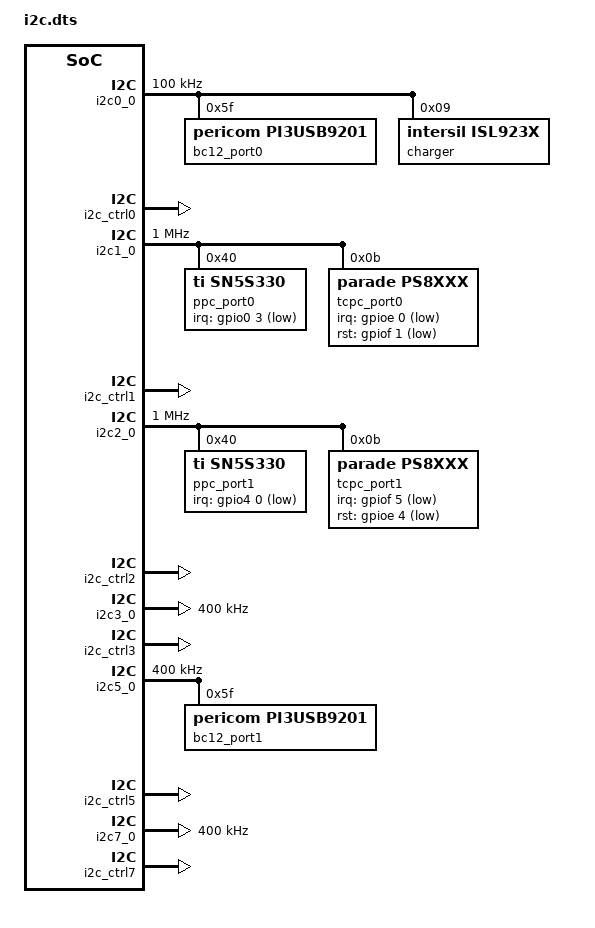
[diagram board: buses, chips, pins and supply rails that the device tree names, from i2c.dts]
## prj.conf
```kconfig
# Copyright 2021 The ChromiumOS Authors
# Use of this source code is governed by a BSD-style license that can be
# found in the LICENSE file.

CONFIG_CROS_EC=y
#
# Lazor actually has a NPCX7M6FC, but
# the NPCX7M7FC is actually the same die, without the
# extra RAM being tested. The code size really could
# do with the extra space, so we pretend the EC is the
# part with the larger RAM. YMMV.
#
CONFIG_PLATFORM_EC=y
CONFIG_PLATFORM_EC_BRINGUP=y
CONFIG_PLATFORM_EC_EXTPOWER_GPIO=y
CONFIG_PLATFORM_EC_SWITCH=y
CONFIG_PLATFORM_EC_LID_SWITCH=y
CONFIG_PLATFORM_EC_BACKLIGHT_LID=y
CONFIG_PLATFORM_EC_POWER_BUTTON=y

# PWM
CONFIG_PWM=y

# Application Processor is Qualcomm SC7180
CONFIG_AP_ARM_QUALCOMM_SC7180=y

# Board version is selected over GPIO board ID pins.
CONFIG_PLATFORM_EC_BOARD_VERSION_GPIO=y

# LN9310 Switchcap
CONFIG_PLATFORM_EC_SWITCHCAP_LN9310=y

# Power Sequencing
CONFIG_PLATFORM_EC_POWERSEQ=y
CONFIG_PLATFORM_EC_POWERSEQ_HOST_SLEEP=y
CONFIG_PLATFORM_EC_POWER_SLEEP_FAILURE_DETECTION=y
CONFIG_PLATFORM_EC_CHIPSET_RESET_HOOK=y
CONFIG_PLATFORM_EC_CHIPSET_RESUME_INIT_HOOK=y

# Trogdor family does not use EFS2
CONFIG_PLATFORM_EC_VBOOT_EFS2=n

# MKBP event
CONFIG_PLATFORM_EC_MKBP_EVENT=y
CONFIG_PLATFORM_EC_MKBP_USE_GPIO=y

# Keyboard
CONFIG_PLATFORM_EC_KEYBOARD_PROTOCOL_MKBP=y
CONFIG_PLATFORM_EC_MKBP_INPUT_DEVICES=y
CONFIG_PLATFORM_EC_KEYBOARD_COL2_INVERTED=y
CONFIG_PLATFORM_EC_VOLUME_BUTTONS=y
CONFIG_PLATFORM_EC_CMD_BUTTON=y

# Battery
CONFIG_PLATFORM_EC_I2C_VIRTUAL_BATTERY=y
CONFIG_PLATFORM_EC_I2C_PASSTHRU_RESTRICTED=y
CONFIG_PLATFORM_EC_BATTERY_FUEL_GAUGE=y
CONFIG_PLATFORM_EC_BATTERY_CUT_OFF=y
CONFIG_PLATFORM_EC_CHARGER_ISL9238=y
CONFIG_PLATFORM_EC_CHARGE_RAMP_HW=y
CONFIG_PLATFORM_EC_USE_BATTERY_DEVICE_CHEMISTRY=y
CONFIG_PLATFORM_EC_BATTERY_DEVICE_CHEMISTRY="LION"
CONFIG_PLATFORM_EC_BATTERY_REVIVE_DISCONNECT=y
CONFIG_PLATFORM_EC_CHARGER_DISCHARGE_ON_AC=y
CONFIG_PLATFORM_EC_CHARGER_DISCHARGE_ON_AC_CHARGER=y
CONFIG_PLATFORM_EC_CHARGER_MIN_BAT_PCT_FOR_POWER_ON=2
CONFIG_PLATFORM_EC_CHARGER_MIN_POWER_MW_FOR_POWER_ON=10000
CONFIG_PLATFORM_EC_CHARGER_MIN_INPUT_CURRENT_LIMIT=512
CONFIG_PLATFORM_EC_CHARGER_PROFILE_OVERRIDE=y
CONFIG_PLATFORM_EC_CHARGER_PSYS=y
CONFIG_PLATFORM_EC_CHARGER_PSYS_READ=y
CONFIG_PLATFORM_EC_CHARGER_SENSE_RESISTOR=10
CONFIG_PLATFORM_EC_CHARGER_SENSE_RESISTOR_AC=20
CONFIG_PLATFORM_EC_CONSOLE_CMD_CHARGER_ADC_AMON_BMON=y

# USB-C
CONFIG_PLATFORM_EC_USB_PD_USB32_DRD=n
CONFIG_PLATFORM_EC_USBC_SS_MUX_DFP_ONLY=y
CONFIG_PLATFORM_EC_USB_DRP_ACC_TRYSRC=y
CONFIG_PLATFORM_EC_USB_PD_5V_EN_CUSTOM=y
CONFIG_PLATFORM_EC_USB_PD_VBUS_DETECT_TCPC=y
CONFIG_PLATFORM_EC_USB_PD_DISCHARGE_PPC=y
CONFIG_PLATFORM_EC_USB_PD_REV30=n
CONFIG_PLATFORM_EC_USB_PD_TBT_COMPAT_MODE=n
CONFIG_PLATFORM_EC_USB_PD_USB4=n
CONFIG_PLATFORM_EC_USB_PD_TCPC_LOW_POWER=y
CONFIG_PLATFORM_EC_USB_PD_TCPM_MULTI_PS8XXX=y
CONFIG_PLATFORM_EC_USB_PD_TCPM_PS8751=y
CONFIG_PLATFORM_EC_USB_PD_TCPM_PS8805=y
CONFIG_PLATFORM_EC_USB_PD_TCPC_RUNTIME_CONFIG=n
CONFIG_PLATFORM_EC_USB_MUX_RUNTIME_CONFIG=n
CONFIG_PLATFORM_EC_USB_PD_LOGGING=y

# USB ID
# This is allocated specifically for Trogdor
# http://google3/hardware/standards/usb/
# TODO(b/183608112): Move to device tree
CONFIG_PLATFORM_EC_USB_PID=0x5043

# RTC
CONFIG_PLATFORM_EC_RTC=y
CONFIG_PLATFORM_EC_HOSTCMD_RTC=y
CONFIG_PLATFORM_EC_CONSOLE_CMD_RTC=y

# EC software sync
CONFIG_PLATFORM_EC_VBOOT_HASH=y

# Sensors
CONFIG_PLATFORM_EC_ACCEL_FIFO=y
CONFIG_PLATFORM_EC_CONSOLE_CMD_ACCELS=y
CONFIG_PLATFORM_EC_CONSOLE_CMD_ACCEL_INFO=y
CONFIG_PLATFORM_EC_GMR_TABLET_MODE=y
CONFIG_PLATFORM_EC_LID_ANGLE=y
CONFIG_PLATFORM_EC_LID_ANGLE_UPDATE=y
CONFIG_PLATFORM_EC_SENSOR_TIGHT_TIMESTAMPS=y
CONFIG_PLATFORM_EC_TABLET_MODE=y
CONFIG_PLATFORM_EC_TABLET_MODE_SWITCH=y

# Sensor Drivers
CONFIG_PLATFORM_EC_ACCEL_BMA255=y
CONFIG_PLATFORM_EC_ACCELGYRO_BMI160=y
CONFIG_PLATFORM_EC_ACCELGYRO_BMI_COMM_I2C=y

# Console history
CONFIG_SHELL_HISTORY=y
CONFIG_SHELL_CMDS=y
CONFIG_SHELL_HELP=n
CONFIG_SHELL_MINIMAL=y

# Taskinfo
CONFIG_THREAD_MONITOR=y
CONFIG_KERNEL_SHELL=y

CONFIG_SYSCON=y

# Features should be enabled. But the code RAM is not enough, disable them.
#CONFIG_PLATFORM_EC_ACCEL_SPOOF_MODE=y
#CONFIG_PLATFORM_EC_EMULATED_SYSRQ=y
```

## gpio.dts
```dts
/* Copyright 2021 The ChromiumOS Authors
 * Use of this source code is governed by a BSD-style license that can be
 * found in the LICENSE file.
 */

#include <dt-bindings/wake_mask_event_defines.h>

/ {
	aliases {
		gpio-wp = &gpio_ec_wp_odl;
		gpio-kbd-kso2 = &gpio_ec_kso_02_inv;
	};

	named-gpios {
		compatible = "named-gpios";

		gpio_usb_c0_pd_int_odl: usb_c0_pd_int_odl {
			gpios = <&gpioe 0 (GPIO_INPUT | GPIO_ACTIVE_LOW)>;
			enum-name = "GPIO_USB_C0_PD_INT_ODL";
		};
		gpio_usb_c1_pd_int_odl: usb_c1_pd_int_odl {
			gpios = <&gpiof 5 (GPIO_INPUT | GPIO_ACTIVE_LOW)>;
			enum-name = "GPIO_USB_C1_PD_INT_ODL";
		};
		gpio_usb_c0_swctl_int_odl: usb_c0_swctl_int_odl {
			gpios = <&gpio0 3 (GPIO_INPUT | GPIO_ACTIVE_LOW)>;
			enum-name = "GPIO_USB_C0_SWCTL_INT_ODL";
		};
		gpio_usb_c1_swctl_int_odl: usb_c1_swctl_int_odl {
			gpios = <&gpio4 0 (GPIO_INPUT | GPIO_ACTIVE_LOW)>;
			enum-name = "GPIO_USB_C1_SWCTL_INT_ODL";
		};
		gpio_usb_c0_bc12_int_l: usb_c0_bc12_int_l {
			gpios = <&gpio6 1 GPIO_INPUT_PULL_UP>;
		};
		gpio_usb_c1_bc12_int_l: usb_c1_bc12_int_l {
			gpios = <&gpio8 2 GPIO_INPUT_PULL_UP>;
		};
		gpio_usb_a0_oc_odl: usb_a0_oc_odl {
			gpios = <&gpiod 1 GPIO_INPUT_PULL_UP>;
		};
		gpio_acok_od: acok_od {
			gpios = <&gpio0 0 GPIO_INPUT>;
			enum-name = "GPIO_AC_PRESENT";
		};
		gpio_ccd_mode_odl: ccd_mode_odl {
			gpios = <&gpioe 3 GPIO_INPUT>;
			enum-name = "GPIO_CCD_MODE_ODL";
		};
		gpio_ec_pwr_btn_odl: ec_pwr_btn_odl {
			gpios = <&gpio0 1 GPIO_INPUT>;
			enum-name = "GPIO_POWER_BUTTON_L";
		};
		gpio_ec_voldn_btn_odl: ec_voldn_btn_odl {
			gpios = <&gpio7 0 GPIO_INPUT_PULL_UP>;
			enum-name = "GPIO_VOLUME_DOWN_L";
		};
		gpio_ec_volup_btn_odl: ec_volup_btn_odl {
			gpios = <&gpiof 2 GPIO_INPUT_PULL_UP>;
			enum-name = "GPIO_VOLUME_UP_L";
		};
		gpio_ec_wp_odl: ec_wp_odl {
			gpios = <&gpioa 1 (GPIO_INPUT | GPIO_ACTIVE_LOW)>;
		};
		gpio_lid_open_ec: lid_open_ec {
			gpios = <&gpiod 2 GPIO_INPUT>;
			enum-name = "GPIO_LID_OPEN";
		};
		gpio_ap_rst_l: ap_rst_l {
			gpios = <&gpioc 1 (GPIO_INPUT | GPIO_VOLTAGE_1P8)>;
			enum-name = "GPIO_AP_RST_L";
		};
		gpio_ps_hold: ps_hold {
			gpios = <&gpioa 4 GPIO_INPUT_PULL_DOWN>;
			enum-name = "GPIO_PS_HOLD";
		};
		gpio_ap_suspend: ap_suspend {
			gpios = <&gpio5 7 GPIO_INPUT>;
			enum-name = "GPIO_AP_SUSPEND";
		};
		gpio_deprecated_ap_rst_req: deprecated_ap_rst_req {
			gpios = <&gpioc 2 (GPIO_INPUT_PULL_DOWN | GPIO_VOLTAGE_1P8)>;
			enum-name = "GPIO_DEPRECATED_AP_RST_REQ";
		};
		gpio_power_good: power_good {
			gpios = <&gpio5 4 GPIO_INPUT_PULL_DOWN>;
			enum-name = "GPIO_POWER_GOOD";
		};
		gpio_warm_reset_l: warm_reset_l {
			gpios = <&gpiof 4 (GPIO_INPUT | GPIO_VOLTAGE_1P8)>;
			enum-name = "GPIO_WARM_RESET_L";
		};
		ap_ec_spi_cs_l {
			gpios = <&gpio5 3 GPIO_INPUT_PULL_DOWN>;
		};
		gpio_tablet_mode_l: tablet_mode_l {
			gpios = <&gpioc 6 GPIO_INPUT>;
			enum-name = "GPIO_TABLET_MODE_L";
		};
		gpio_accel_gyro_int_l: accel_gyro_int_l {
			gpios = <&gpioa 0 GPIO_INPUT>;
		};
		/*
		 * Note, this signal is active low when used as the ln9310
		 * interrupt input, and active high when used as the da9313
		 * power good input.  The board code clears the active low
		 * flag when da9313 is detected.
		 */
		gpio_switchcap_pg_int_l: gpio_da9313_gpio0: da9313_gpio0 {
			gpios = <&gpioe 2 (GPIO_INPUT | GPIO_ACTIVE_LOW)>;
			enum-name = "GPIO_DA9313_GPIO0";
		};
		gpio_ec_rst_odl: ec_rst_odl {
			gpios = <&gpio0 2 GPIO_INPUT>;
		};
		ec_entering_rw {
			gpios = <&gpioe 1 GPIO_OUTPUT_LOW>;
			enum-name = "GPIO_ENTERING_RW";
		};
		ec_batt_pres_odl {
			gpios = <&gpioe 5 GPIO_INPUT>;
			enum-name = "GPIO_BATT_PRES_ODL";
		};
		pm845_resin_l {
			gpios = <&gpio3 2 GPIO_ODR_HIGH>;
			enum-name = "GPIO_PMIC_RESIN_L";
		};
		pmic_kpd_pwr_odl {
			gpios = <&gpiod 6 GPIO_ODR_HIGH>;
			enum-name = "GPIO_PMIC_KPD_PWR_ODL";
		};
		ec_int_l {
			gpios = <&gpioa 2 GPIO_ODR_HIGH>;
			enum-name = "GPIO_EC_INT_L";
		};
		qsip_on {
			gpios = <&gpio5 0 GPIO_OUTPUT_LOW>;
		};
		gpio_hibernate_l: hibernate_l {
			gpios = <&gpio5 2 GPIO_OUTPUT_HIGH>;
		};
		gpio_switchcap_on: switchcap_on {
			gpios = <&gpiod 5 GPIO_OUTPUT_LOW>;
			enum-name = "GPIO_SWITCHCAP_ON";
		};
		gpio_vbob_en: vbob_en {
			gpios = <&gpiod 3 GPIO_OUTPUT_LOW>;
			enum-name = "GPIO_VBOB_EN";
		};
		gpio_en_pp3300_a: en_pp3300_a {
			gpios = <&gpioa 6 GPIO_OUTPUT_LOW>;
			enum-name = "GPIO_EN_PP3300_A";
		};
		gpio_en_pp5000_a: en_pp5000_a {
			gpios = <&gpio6 7 GPIO_OUTPUT_LOW>;
			enum-name = "GPIO_EN_PP5000";
		};
		ec_bl_disable_l {
			gpios = <&gpiob 6 GPIO_OUTPUT_LOW>;
			enum-name = "GPIO_ENABLE_BACKLIGHT";
		};
		gpio_lid_accel_int_l: lid_accel_int_l {
			gpios = <&gpio5 6 GPIO_INPUT>;
		};
		trackpad_int_gate {
			gpios = <&gpio7 4 GPIO_OUTPUT_LOW>;
		};
		gpio_usb_c0_pd_rst_l: usb_c0_pd_rst_l {
			gpios = <&gpiof 1 (GPIO_ODR_HIGH | GPIO_ACTIVE_LOW)>;
		};
		gpio_usb_c1_pd_rst_l: usb_c1_pd_rst_l {
			gpios = <&gpioe 4 (GPIO_ODR_HIGH | GPIO_ACTIVE_LOW)>;
		};
		gpio_dp_mux_oe_l: dp_mux_oe_l {
			gpios = <&gpio9 6 GPIO_ODR_HIGH>;
		};
		gpio_dp_mux_sel: dp_mux_sel {
			gpios = <&gpio4 5 GPIO_OUTPUT_LOW>;
		};
		gpio_dp_hot_plug_det: dp_hot_plug_det {
			gpios = <&gpio9 5 GPIO_OUTPUT_LOW>;
		};
		gpio_en_usb_a_5v: en_usb_a_5v {
			gpios = <&gpio8 6 GPIO_OUTPUT_LOW>;
			enum-name = "GPIO_EN_USB_A_5V";
		};
		usb_a_cdp_ilim_en {
			gpios = <&gpio7 5 GPIO_OUTPUT_HIGH>;
		};
		gpio_ec_chg_led_y_c1: ec_chg_led_y_c1 {
			gpios = <&gpioc 3 GPIO_OUTPUT_LOW>;
		};
		gpio_ec_chg_led_b_c1: ec_chg_led_b_c1 {
			gpios = <&gpioc 4 GPIO_OUTPUT_LOW>;
		};
		gpio_brd_id0: brd_id0 {
			gpios = <&gpioc 7 GPIO_INPUT>;
			enum-name = "GPIO_BOARD_VERSION1";
		};
		gpio_brd_id1: brd_id1 {
			gpios = <&gpio9 3 GPIO_INPUT>;
			enum-name = "GPIO_BOARD_VERSION2";
		};
		gpio_brd_id2: brd_id2 {
			gpios = <&gpio6 3 GPIO_INPUT>;
			enum-name = "GPIO_BOARD_VERSION3";
		};
		gpio_sku_id0: sku_id0 {
			gpios = <&gpiof 0 GPIO_INPUT>;
		};
		gpio_sku_id1: sku_id1 {
			gpios = <&gpio4 1 GPIO_INPUT>;
		};
		gpio_sku_id2: sku_id2 {
			gpios = <&gpiod 4 GPIO_INPUT>;
		};
		arm_x86 {
			gpios = <&gpio6 6 GPIO_OUTPUT_LOW>;
		};
		ec-i2c-sensor-scl {
			gpios = <&gpiob 3 (GPIO_INPUT | GPIO_VOLTAGE_1P8)>;
		};
		ec-i2c-sensor-sda {
			gpios = <&gpiob 2 (GPIO_INPUT | GPIO_VOLTAGE_1P8)>;
		};
		gpio_ec_kso_02_inv: ec_kso_02_inv {
			gpios = <&gpio1 7 (GPIO_OUTPUT | GPIO_ACTIVE_HIGH)>;
		};
	};

	usba-port-enable-list {
		compatible = "cros-ec,usba-port-enable-pins";
		enable-pins = <&gpio_en_usb_a_5v>;
	};

	hibernate-wake-pins {
		compatible = "cros-ec,hibernate-wake-pins";
		wakeup-irqs = <
			&int_ac_present
			&int_power_button
			&int_lid_open
			&int_ec_rst
		>;
	};

	ec-mkbp-host-event-wakeup-mask {
		compatible = "cros-ec,mkbp-host-event-wakeup-mask";
		wakeup-mask = <(
			HOST_EVENT_LID_OPEN |
			HOST_EVENT_POWER_BUTTON |
			HOST_EVENT_AC_CONNECTED |
			HOST_EVENT_AC_DISCONNECTED |
			HOST_EVENT_HANG_DETECT |
			HOST_EVENT_RTC |
			HOST_EVENT_MODE_CHANGE |
			HOST_EVENT_DEVICE)>;
	};

	ec-mkbp-event-wakeup-mask {
		compatible = "cros-ec,mkbp-event-wakeup-mask";
		wakeup-mask = <(MKBP_EVENT_KEY_MATRIX |
				MKBP_EVENT_HOST_EVENT |
				MKBP_EVENT_SENSOR_FIFO)>;
	};

	gpio_id_sku: sku {
		compatible = "cros-ec,gpio-id";
		bits  = <
			&gpio_sku_id0
			&gpio_sku_id1
			&gpio_sku_id2
		>;
		system = "binary";
	};

	gpio_id_board: board {
		compatible = "cros-ec,gpio-id";
		bits  = <
			&gpio_brd_id0
			&gpio_brd_id1
			&gpio_brd_id2
		>;
		system = "binary_first_base3";
	};

	unused-pins {
		compatible = "unused-gpios";
		unused-gpios =
			<&gpio5 1 0>,
			<&gpiod 0 0>,
			<&gpiof 3 0>,
			<&gpio0 4 0>,
			<&gpioc 0 0>,
			<&gpioa 7 0>,
			<&gpio8 3 0>,
			<&gpio8 1 0>,
			<&gpio3 7 0>,
			<&gpio7 6 0>,
			<&gpio3 4 0>,
			<&gpioc 5 0>,
			<&gpioa 3 0>,
			<&gpio7 3 0>,
			<&gpiod 7 0>,
			<&gpioa 5 0>,
			<&gpiob 0 0>,
			<&gpio9 4 0>,
			<&gpiob 1 0>,
			<&gpio6 2 0>,
			<&gpio3 5 0>,
			<&gpio9 7 0>,
			<&gpio6 0 0>,
			<&gpio7 2 0>;
	};
};
```

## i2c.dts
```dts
/* Copyright 2022 The ChromiumOS Authors
 * Use of this source code is governed by a BSD-style license that can be
 * found in the LICENSE file.
 */

/ {
	named-i2c-ports {
		compatible = "named-i2c-ports";

		i2c_power: power {
			i2c-port = <&i2c0_0>;
			remote-port = <0>;
			enum-names = "I2C_PORT_POWER",
				"I2C_PORT_BATTERY",
				"I2C_PORT_VIRTUAL_BATTERY",
				"I2C_PORT_CHARGER";
		};
		i2c_tcpc0: tcpc0 {
			i2c-port = <&i2c1_0>;
			enum-names = "I2C_PORT_TCPC0";
		};
		i2c_tcpc1: tcpc1 {
			i2c-port = <&i2c2_0>;
			enum-names = "I2C_PORT_TCPC1";
		};
		i2c_eeprom: eeprom {
			i2c-port = <&i2c5_0>;
			enum-names = "I2C_PORT_EEPROM";
		};
		i2c_sensor: sensor {
			i2c-port = <&i2c7_0>;
			enum-names = "I2C_PORT_SENSOR",
				"I2C_PORT_ACCEL";
		};
	};

};

&i2c0_0 {
	status = "okay";
	clock-frequency = <I2C_BITRATE_STANDARD>;
	pinctrl-0 = <&i2c0_0_sda_scl_gpb4_b5>;
	pinctrl-names = "default";

	bc12_port0: pi3usb9201@5f {
		compatible = "pericom,pi3usb9201";
		status = "okay";
		reg = <0x5f>;
		irq = <&int_usb_c0_bc12>;
	};

	charger: isl923x@9 {
		compatible = "intersil,isl923x";
		status = "okay";
		reg = <0x9>;
	};
};

&i2c_ctrl0 {
	status = "okay";
};

&i2c1_0 {
	status = "okay";
	clock-frequency = <I2C_BITRATE_FAST_PLUS>;
	pinctrl-0 = <&i2c1_0_sda_scl_gp87_90>;
	pinctrl-names = "default";

	ppc_port0: sn5s330@40 {
		compatible = "ti,sn5s330";
		status = "okay";
		reg = <0x40>;
		/* a duplicate of the <&gpio_usb_c0_swctl_int_odl> node in
		 * "named-gpios". This is the Zephyr preferred style,
		 * the "named-gpios" node will be dealt with at a later date.
		 */
		irq-gpios = <&gpio0 3 GPIO_ACTIVE_LOW>;
	};

	tcpc_port0: ps8xxx@b {
		compatible = "parade,ps8xxx";
		status = "okay";
		reg = <0xb>;
		/* a duplicate of the <&gpio_usb_c0_pd_int_odl> node in
		 * "named-gpios". This is the Zephyr preferred style,
		 * the "named-gpios" node will be dealt with at a later date.
		 */
		irq-gpios = <&gpioe 0 GPIO_ACTIVE_LOW>;
		/* a duplicate of the <&gpio_usb_c0_pd_rst_l> node in
		 * "named-gpios". This is the Zephyr preferred style,
		 * the "named-gpios" node will be dealt with at a later date.
		 */
		rst-gpios = <&gpiof 1 (GPIO_OPEN_DRAIN | GPIO_ACTIVE_LOW)>;
	};
};

&i2c_ctrl1 {
	status = "okay";
};

&i2c2_0 {
	status = "okay";
	clock-frequency = <I2C_BITRATE_FAST_PLUS>;
	pinctrl-0 = <&i2c2_0_sda_scl_gp91_92>;
	pinctrl-names = "default";

	ppc_port1: sn5s330@40{
		compatible = "ti,sn5s330";
		status = "okay";
		reg = <0x40>;
		/* a duplicate of the <&gpio_usb_c1_swctl_int_odl> node in
		 * "named-gpios". This is the Zephyr preferred style,
		 * the "named-gpios" node will be dealt with at a later date.
		 */
		irq-gpios = <&gpio4 0 GPIO_ACTIVE_LOW>;
	};

	tcpc_port1: ps8xxx@b {
		compatible = "parade,ps8xxx";
		status = "okay";
		reg = <0xb>;
		/* a duplicate of the <&gpio_usb_c1_pd_int_odl> node in
		 * "named-gpios". This is the Zephyr preferred style,
		 * the "named-gpios" node will be dealt with at a later date.
		 */
		irq-gpios = <&gpiof 5 GPIO_ACTIVE_LOW>;
		/* a duplicate of the <&gpio_usb_c1_pd_rst_l> node in
		 * "named-gpios". This is the Zephyr preferred style,
		 * the "named-gpios" node will be dealt with at a later date.
		 */
		rst-gpios = <&gpioe 4 (GPIO_OPEN_DRAIN | GPIO_ACTIVE_LOW)>;
	};
};

&i2c_ctrl2 {
	status = "okay";
};

&i2c3_0 {
	/* Not used as no WLC connected */
	clock-frequency = <I2C_BITRATE_FAST>;
};

&i2c_ctrl3 {
	status = "okay";
};

&i2c5_0 {
	status = "okay";
	clock-frequency = <I2C_BITRATE_FAST>;
	pinctrl-0 = <&i2c5_0_sda_scl_gp33_36>;
	pinctrl-names = "default";

	bc12_port1: pi3usb9201@5f {
		compatible = "pericom,pi3usb9201";
		status = "okay";
		reg = <0x5f>;
		irq = <&int_usb_c1_bc12>;
	};
};

&i2c_ctrl5 {
	status = "okay";
};

&i2c7_0 {
	status = "okay";
	clock-frequency = <I2C_BITRATE_FAST>;
	pinctrl-0 = <&i2c7_0_sda_scl_gpb2_b3>;
	pinctrl-names = "default";
};

&i2c_ctrl7 {
	status = "okay";
};
```

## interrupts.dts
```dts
/* Copyright 2022 The ChromiumOS Authors
 * Use of this source code is governed by a BSD-style license that can be
 * found in the LICENSE file.
 */

/ {
	gpio-interrupts {
		compatible = "cros-ec,gpio-interrupts";

		int_ac_present: ac_present {
			irq-pin = <&gpio_acok_od>;
			flags = <GPIO_INT_EDGE_BOTH>;
			handler = "extpower_interrupt";
		};
		int_lid_open: lid_open {
			irq-pin = <&gpio_lid_open_ec>;
			flags = <GPIO_INT_EDGE_BOTH>;
			handler = "lid_interrupt";
		};
		int_power_button: power_button {
			irq-pin = <&gpio_ec_pwr_btn_odl>;
			flags = <GPIO_INT_EDGE_BOTH>;
			handler = "power_button_interrupt";
		};
		int_volume_up: volume_up {
			irq-pin = <&gpio_ec_volup_btn_odl>;
			flags = <GPIO_INT_EDGE_BOTH>;
			handler = "button_interrupt";
		};
		int_volume_down: volume_down {
			irq-pin = <&gpio_ec_voldn_btn_odl>;
			flags = <GPIO_INT_EDGE_BOTH>;
			handler = "button_interrupt";
		};
		/*
		 * Note this is an active low input, so
		 * the direction is from logical low to
		 * logical high.
		 */
		int_switchcap_pg: switchcap_pg {
			irq-pin = <&gpio_switchcap_pg_int_l>;
			flags = <GPIO_INT_EDGE_RISING>;
			handler = "ln9310_interrupt";
		};
		int_ap_rst: ap_rst {
			irq-pin = <&gpio_ap_rst_l>;
			flags = <GPIO_INT_EDGE_BOTH>;
			handler = "chipset_ap_rst_interrupt";
		};
		int_ap_suspend: ap_suspend {
			irq-pin = <&gpio_ap_suspend>;
			flags = <GPIO_INT_EDGE_BOTH>;
			handler = "power_signal_interrupt";
		};
		int_deprecated_ap_rst_req: deprecated_ap_rst_req {
			irq-pin = <&gpio_deprecated_ap_rst_req>;
			flags = <GPIO_INT_EDGE_BOTH>;
			handler = "power_signal_interrupt";
		};
		int_power_good: power_good {
			irq-pin = <&gpio_power_good>;
			flags = <GPIO_INT_EDGE_BOTH>;
			handler = "chipset_power_good_interrupt";
		};
		int_ps_hold: ps_hold {
			irq-pin = <&gpio_ps_hold>;
			flags = <GPIO_INT_EDGE_BOTH>;
			handler = "power_signal_interrupt";
		};
		int_warm_reset: warm_reset {
			irq-pin = <&gpio_warm_reset_l>;
			flags = <GPIO_INT_EDGE_BOTH>;
			handler = "chipset_warm_reset_interrupt";
		};
		int_usb_c0_bc12: usb_c0_bc12 {
			irq-pin = <&gpio_usb_c0_bc12_int_l>;
			flags = <GPIO_INT_EDGE_FALLING>;
			handler = "usb0_evt";
		};
		int_usb_c1_bc12: usb_c1_bc12 {
			irq-pin = <&gpio_usb_c1_bc12_int_l>;
			flags = <GPIO_INT_EDGE_FALLING>;
			handler = "usb1_evt";
		};
		int_usb_a0_oc: usb_a0_oc {
			irq-pin = <&gpio_usb_a0_oc_odl>;
			flags = <GPIO_INT_EDGE_BOTH>;
			handler = "usba_oc_interrupt";
		};
		int_ccd_mode: ccd_mode {
			irq-pin = <&gpio_ccd_mode_odl>;
			flags = <GPIO_INT_EDGE_FALLING>;
			handler = "board_connect_c0_sbu";
		};
		int_accel: accel {
			irq-pin = <&gpio_accel_gyro_int_l>;
			flags = <GPIO_INT_EDGE_FALLING>;
			handler = "bmi160_interrupt";
		};
		int_tablet_mode: tablet_mode {
			irq-pin = <&gpio_tablet_mode_l>;
			flags = <GPIO_INT_EDGE_BOTH>;
			handler = "gmr_tablet_switch_isr";
		};
		int_ec_rst: ec_rst {
			irq-pin = <&gpio_ec_rst_odl>;
			flags = <GPIO_INT_EDGE_FALLING>;
			handler = "wake_isr";
		};
	};
};
```

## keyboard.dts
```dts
/* Copyright 2021 The ChromiumOS Authors
 * Use of this source code is governed by a BSD-style license that can be
 * found in the LICENSE file.
 */

/ {
	cros-keyscan {
		compatible = "cros-ec,keyscan";

		actual-key-mask = <
			0x14	/* C0 */
			0xff	/* C1 */
			0xff	/* C2 */
			0xff	/* C3 */
			0xff	/* C4 */
			0xf5	/* C5 */
			0xff	/* C6 */
			0xa4	/* C7 */
			0xff	/* C8 */
			0xfe	/* C9 */
			0x55	/* C10 */
			0xfa	/* C11 */
			0xca	/* C12 */
			>;
	};

	kblight {
		compatible = "cros-ec,kblight-pwm";
		pwms = <&pwm3 0 PWM_KHZ(10) PWM_POLARITY_NORMAL>;
		generic-pwm-channel = <0>;
	};
};

&pwm3 {
	status = "okay";
	pinctrl-0 = <&pwm3_gp80>;
	pinctrl-names = "default";
};

&cros_kb_raw {
	status = "okay";
	/* No KSO2 (it's inverted and implemented by GPIO) */
	pinctrl-0 = <&ksi0_gp31
		     &ksi1_gp30
		     &ksi2_gp27
		     &ksi3_gp26
		     &ksi4_gp25
		     &ksi5_gp24
		     &ksi6_gp23
		     &ksi7_gp22
		     &kso00_gp21
		     &kso01_gp20
		     &kso03_gp16
		     &kso04_gp15
		     &kso05_gp14
		     &kso06_gp13
		     &kso07_gp12
		     &kso08_gp11
		     &kso09_gp10
		     &kso10_gp07
		     &kso11_gp06
		     &kso12_gp05
		     >;
	pinctrl-names = "default";
};
```

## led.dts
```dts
/ {
	led-colors {
		compatible = "cros-ec,led-policy";

		power-state-charge {
			charge-state = "LED_PWRS_CHARGE";

			battery-led {
				led-id = "EC_LED_ID_BATTERY_LED";
				color-0 {
					led-color = "LED_AMBER";
				};
			};
		};

		power-state-discharge-s0 {
			charge-state = "LED_PWRS_DISCHARGE";
			chipset-state = "POWER_S0";

			battery-led {
				led-id = "EC_LED_ID_BATTERY_LED";
				color-0 {
					led-color = "LED_BLUE";
				};
			};
		};

		power-state-discharge-s3 {
			charge-state = "LED_PWRS_DISCHARGE";
			chipset-state = "POWER_S3";

			/* Amber 1 sec, off 3 sec */
			battery-led {
				led-id = "EC_LED_ID_BATTERY_LED";
				color-0 {
					led-color = "LED_AMBER";
					period-ms = <1000>;
				};
				color-1 {
					led-color = "LED_OFF";
					period-ms = <3000>;
				};
			};
		};

		power-state-discharge-s5 {
			charge-state = "LED_PWRS_DISCHARGE";
			chipset-state = "POWER_S5";

			battery-led {
				led-id = "EC_LED_ID_BATTERY_LED";
				color-0 {
					led-color = "LED_OFF";
				};
			};
		};

		power-state-error {
			charge-state = "LED_PWRS_ERROR";

			/* Amber 1 sec, off 1 sec */
			battery-led {
				led-id = "EC_LED_ID_BATTERY_LED";
				color-0 {
					led-color = "LED_AMBER";
					period-ms = <1000>;
				};
				color-1 {
					led-color = "LED_OFF";
					period-ms = <1000>;
				};
			};
		};

		power-state-near-full {
			charge-state = "LED_PWRS_CHARGE_NEAR_FULL";

			battery-led {
				led-id = "EC_LED_ID_BATTERY_LED";
				color-0 {
					led-color = "LED_BLUE";
				};
			};
		};

		power-state-forced-idle {
			charge-state = "LED_PWRS_FORCED_IDLE";

			/* Blue 2 sec, Amber 2 sec */
			battery-led {
					led-id = "EC_LED_ID_BATTERY_LED";
				color-0 {
					led-color = "LED_BLUE";
					period-ms = <2000>;
				};
				color-1 {
					led-color = "LED_AMBER";
					period-ms = <2000>;
				};
			};
		};

		power-state-idle {
			charge-state = "LED_PWRS_IDLE";

			battery-led {
				led-id = "EC_LED_ID_BATTERY_LED";
				color-0 {
					led-color = "LED_BLUE";
				};
			};
		};
	};
};
```

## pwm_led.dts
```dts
/* Copyright 2022 The ChromiumOS Authors
 * Use of this source code is governed by a BSD-style license that can be
 * found in the LICENSE file.
 */

/ {
	pwmleds {
		compatible = "pwm-leds";
		pwm_y: pwm_y {
			pwms = <&pwm0 0 PWM_HZ(324) PWM_POLARITY_NORMAL>;
		};
		pwm_b: pwm_b {
			pwms = <&pwm2 0 PWM_HZ(324) PWM_POLARITY_NORMAL>;
		};
	};

	pwm-led-pins {
		compatible = "cros-ec,pwm-led-pins";

		battery_led: battery-led {
			led-id = "EC_LED_ID_BATTERY_LED";
			led-pwms = <&pwm_y &pwm_b>;

			color-off {
				led-color = "LED_OFF";
				led-values = <0 0>;
			};

			color-amber {
				led-color = "LED_AMBER";
				led-values = <100 0>;
			};

			color-blue {
				led-color = "LED_BLUE";
				led-values = <0 100>;
			};
		};
	};
};

&pwm0 {
	status = "okay";
	pinctrl-0 = <&pwm0_gpc3>;
	pinctrl-names = "default";
};

&pwm2 {
	status = "okay";
	pinctrl-0 = <&pwm2_gpc4>;
	pinctrl-names = "default";
};
```

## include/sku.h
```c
/* Copyright 2022 The ChromiumOS Authors
 * Use of this source code is governed by a BSD-style license that can be
 * found in the LICENSE file.
 */

/* Lazor board-specific SKU configuration */

#ifndef __ZEPHYR_LAZOR_SKU_H
#define __ZEPHYR_LAZOR_SKU_H

int board_get_version(void);
int board_is_clamshell(void);
int board_has_da9313(void);
int board_has_ln9310(void);
int board_has_buck_ic(void);

#endif /* __ZEPHYR_LAZOR_SKU_H */
```

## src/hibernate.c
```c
/* Copyright 2022 The ChromiumOS Authors
 * Use of this source code is governed by a BSD-style license that can be
 * found in the LICENSE file.
 */

#include "common.h"
#include "sku.h"
#include "system.h"
#include "usbc_ppc.h"

void board_hibernate(void)
{
	int i;

	if (!board_is_clamshell()) {
		/*
		 * Sensors are unpowered in hibernate. Apply PD to the
		 * interrupt lines such that they don't float.
		 */
		gpio_pin_configure_dt(
			GPIO_DT_FROM_NODELABEL(gpio_accel_gyro_int_l),
			GPIO_DISCONNECTED);
		gpio_pin_configure_dt(
			GPIO_DT_FROM_NODELABEL(gpio_lid_accel_int_l),
			GPIO_DISCONNECTED);
	}

	/*
	 * Board rev 5+ has the hardware fix. Don't need the following
	 * workaround.
	 */
	if (system_get_board_version() >= 5)
		return;

	/*
	 * Enable the PPC power sink path before EC enters hibernate;
	 * otherwise, ACOK won't go High and can't wake EC up. Check the
	 * bug b/170324206 for details.
	 */
	for (i = 0; i < CONFIG_USB_PD_PORT_MAX_COUNT; i++)
		ppc_vbus_sink_enable(i, 1);
}

void board_hibernate_late(void)
{
	/* Set the hibernate GPIO to turn off the rails */
	gpio_pin_set_dt(GPIO_DT_FROM_NODELABEL(gpio_hibernate_l), 0);
}
```

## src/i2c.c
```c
/* Copyright 2021 The ChromiumOS Authors
 * Use of this source code is governed by a BSD-style license that can be
 * found in the LICENSE file.
 */

#include "i2c.h"
#include "i2c/i2c.h"

/* Lazor board specific i2c implementation */

#ifdef CONFIG_PLATFORM_EC_I2C_PASSTHRU_RESTRICTED
int board_allow_i2c_passthru(const struct i2c_cmd_desc_t *cmd_desc)
{
	return (i2c_get_device_for_port(cmd_desc->port) ==
		i2c_get_device_for_port(I2C_PORT_VIRTUAL_BATTERY));
}
#endif
```

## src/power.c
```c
/* Copyright 2022 The ChromiumOS Authors
 * Use of this source code is governed by a BSD-style license that can be
 * found in the LICENSE file.
 */

#include "gpio.h"
#include "power.h"
#include "task.h"

#include <zephyr/drivers/gpio.h>
#include <zephyr/init.h>

#include <ap_power/ap_power.h>

static void board_power_change(struct ap_power_ev_callback *cb,
			       struct ap_power_ev_data data)
{
	switch (data.event) {
	default:
		return;

	case AP_POWER_PRE_INIT:
		/* Turn on the 3.3V rail */
		gpio_pin_set_dt(GPIO_DT_FROM_NODELABEL(gpio_en_pp3300_a), 1);

		/* Turn on the 5V rail. */
#ifdef CONFIG_POWER_PP5000_CONTROL
		power_5v_enable(task_get_current(), 1);
#else /* !defined(CONFIG_POWER_PP5000_CONTROL) */
		gpio_pin_set_dt(GPIO_DT_FROM_NODELABEL(gpio_en_pp5000_a), 1);
#endif /* defined(CONFIG_POWER_PP5000_CONTROL) */
		break;

	case AP_POWER_SHUTDOWN_COMPLETE:
		/* Turn off the 5V rail. */
#ifdef CONFIG_POWER_PP5000_CONTROL
		power_5v_enable(task_get_current(), 0);
#else /* !defined(CONFIG_POWER_PP5000_CONTROL) */
		gpio_pin_set_dt(GPIO_DT_FROM_NODELABEL(gpio_en_pp5000_a), 0);
#endif /* defined(CONFIG_POWER_PP5000_CONTROL) */

		/* Turn off the 3.3V and 5V rails. */
		gpio_pin_set_dt(GPIO_DT_FROM_NODELABEL(gpio_en_pp3300_a), 0);
		break;
	}
}

static int board_power_handler_init(void)
{
	static struct ap_power_ev_callback cb;

	/* Setup a suspend/resume callback */
	ap_power_ev_init_callback(&cb, board_power_change,
				  AP_POWER_PRE_INIT |
					  AP_POWER_SHUTDOWN_COMPLETE);
	ap_power_ev_add_callback(&cb);
	return 0;
}
SYS_INIT(board_power_handler_init, APPLICATION, 1);
```

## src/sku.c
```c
/* Copyright 2022 The ChromiumOS Authors
 * Use of this source code is governed by a BSD-style license that can be
 * found in the LICENSE file.
 */

#include "common.h"
#include "config.h"
#include "console.h"
#include "driver/ln9310.h"
#include "hooks.h"
#include "sku.h"
#include "system.h"
#include "tcpm/ps8xxx_public.h"
#include "util.h"

#define CPRINTS(format, args...) cprints(CC_USBCHARGE, format, ##args)
#define CPRINTF(format, args...) cprintf(CC_USBCHARGE, format, ##args)

static uint8_t sku_id;

enum board_model {
	LAZOR,
	LIMOZEEN,
	UNKNOWN,
};

static const char *const model_name[] = {
	"LAZOR",
	"LIMOZEEN",
	"UNKNOWN",
};

static enum board_model get_model(void)
{
	if (sku_id == 0 || sku_id == 1 || sku_id == 2 || sku_id == 3)
		return LAZOR;
	if (sku_id == 4 || sku_id == 5 || sku_id == 6)
		return LIMOZEEN;
	return UNKNOWN;
}

/* Read SKU ID from GPIO and initialize variables for board variants */
static void sku_init(void)
{
	sku_id = system_get_sku_id();
	CPRINTS("SKU: %u (%s)", sku_id, model_name[get_model()]);
}
DECLARE_HOOK(HOOK_INIT, sku_init, HOOK_PRIO_POST_I2C);

enum battery_cell_type board_get_battery_cell_type(void)
{
	switch (get_model()) {
	case LIMOZEEN:
		return BATTERY_CELL_TYPE_3S;
	default:
		return BATTERY_CELL_TYPE_UNKNOWN;
	}
}

int board_is_clamshell(void)
{
	return get_model() == LIMOZEEN;
}

__override uint16_t board_get_ps8xxx_product_id(int port)
{
	/*
	 * Lazor (SKU_ID: 0, 1, 2, 3) rev 3+ changes TCPC from PS8751 to
	 * PS8805.
	 *
	 * Limozeen (SKU_ID: 4, 5, 6) all-rev uses PS8805.
	 */
	if (get_model() == LAZOR && system_get_board_version() < 3)
		return PS8751_PRODUCT_ID;

	return PS8805_PRODUCT_ID;
}

int board_has_da9313(void)
{
	return get_model() == LAZOR;
}

int board_has_buck_ic(void)
{
	return get_model() == LIMOZEEN && system_get_board_version() >= 8;
}

int board_has_ln9310(void)
{
	return get_model() == LIMOZEEN && system_get_board_version() < 8;
}
```

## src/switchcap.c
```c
/* Copyright 2022 The ChromiumOS Authors
 * Use of this source code is governed by a BSD-style license that can be
 * found in the LICENSE file.
 */

#include "common.h"
#include "config.h"
#include "console.h"
#include "driver/ln9310.h"
#include "gpio/gpio_int.h"
#include "hooks.h"
#include "i2c.h"
#include "power/qcom.h"
#include "sku.h"
#include "system.h"

#include <zephyr/drivers/gpio.h>

#define CPRINTS(format, args...) cprints(CC_I2C, format, ##args)
#define CPRINTF(format, args...) cprintf(CC_I2C, format, ##args)

/* LN9310 switchcap */
const struct ln9310_config_t ln9310_config = {
	.i2c_port = I2C_PORT_POWER,
	.i2c_addr_flags = LN9310_I2C_ADDR_0_FLAGS,
};

static void switchcap_init(void)
{
	if (board_has_da9313()) {
		const struct gpio_dt_spec *da9313_gpio =
			GPIO_DT_FROM_NODELABEL(gpio_da9313_gpio0);
		gpio_flags_t flags = da9313_gpio->dt_flags;

		CPRINTS("Use switchcap: DA9313");

		/*
		 * When the chip in power down mode, it outputs high-Z.
		 * Set pull-down to avoid floating.  Also use the
		 * gpio_pin_configure() routine here so we can clear
		 * the active low flag. gpio_pin_configure_dt() only allows
		 * setting additional flags.
		 */
		flags &= ~GPIO_ACTIVE_LOW;
		flags |= GPIO_INPUT | GPIO_PULL_DOWN;
		gpio_pin_configure(da9313_gpio->port, da9313_gpio->pin, flags);

		/*
		 * Configure DA9313 enable, push-pull output. Don't set the
		 * level here; otherwise, it will override its value and
		 * shutdown the switchcap when sysjump to RW.
		 */
		gpio_pin_configure_dt(GPIO_DT_FROM_NODELABEL(gpio_switchcap_on),
				      GPIO_OUTPUT);
	} else if (board_has_ln9310()) {
		CPRINTS("Use switchcap: LN9310");

		/* Enable interrupt for LN9310 */
		gpio_enable_dt_interrupt(
			GPIO_INT_FROM_NODELABEL(int_switchcap_pg));

		/*
		 * Configure LN9310 enable, open-drain output. Don't set the
		 * level here; otherwise, it will override its value and
		 * shutdown the switchcap when sysjump to RW.
		 *
		 * Note that the gpio.inc configures it GPIO_OUT_LOW. When
		 * sysjump to RW, will output push-pull a short period of
		 * time. As it outputs LOW, should be fine.
		 *
		 * This GPIO changes like:
		 * (1) EC boots from RO -> high-Z
		 * (2) GPIO init according to gpio.inc -> push-pull LOW
		 * (3) This function configures it -> open-drain HIGH
		 * (4) Power sequence turns on the switchcap -> open-drain LOW
		 * (5) EC sysjumps to RW
		 * (6) GPIO init according to gpio.inc -> push-pull LOW
		 * (7) This function configures it -> open-drain LOW
		 */
		gpio_pin_configure_dt(GPIO_DT_FROM_NODELABEL(gpio_switchcap_on),
				      GPIO_OUTPUT | GPIO_OPEN_DRAIN);

		/* Only configure the switchcap if not sysjump */
		if (!system_jumped_late()) {
			/*
			 * Deassert the enable pin, so the
			 * switchcap won't be enabled after the switchcap is
			 * configured from standby mode to switching mode.
			 */
			gpio_pin_set_dt(
				GPIO_DT_FROM_NODELABEL(gpio_switchcap_on), 0);
			ln9310_init();
		}
	} else if (board_has_buck_ic()) {
		CPRINTS("Use Buck IC");
	} else {
		CPRINTS("ERROR: No switchcap solution");
	}
}
DECLARE_HOOK(HOOK_INIT, switchcap_init, HOOK_PRIO_DEFAULT);

void board_set_switchcap_power(int enable)
{
	if (board_has_da9313()) {
		gpio_pin_set_dt(GPIO_DT_FROM_NODELABEL(gpio_switchcap_on),
				enable);
	} else if (board_has_ln9310()) {
		gpio_pin_set_dt(GPIO_DT_FROM_NODELABEL(gpio_switchcap_on),
				enable);
		ln9310_software_enable(enable);
	} else if (board_has_buck_ic()) {
		gpio_pin_set_dt(GPIO_DT_FROM_NODELABEL(gpio_vbob_en), enable);
	}
}

int board_is_switchcap_enabled(void)
{
	if (board_has_da9313() || board_has_ln9310())
		return gpio_pin_get_dt(
			GPIO_DT_FROM_NODELABEL(gpio_switchcap_on));

	/* Board has buck ic*/
	return gpio_pin_get_dt(GPIO_DT_FROM_NODELABEL(gpio_vbob_en));
}

int board_is_switchcap_power_good(void)
{
	if (board_has_da9313())
		return gpio_pin_get_dt(
			GPIO_DT_FROM_NODELABEL(gpio_da9313_gpio0));
	else if (board_has_ln9310())
		return ln9310_power_good();

	/* Board has buck ic no way to check POWER GOOD */
	return 1;
}
```

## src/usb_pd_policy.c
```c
/* Copyright 2022 The ChromiumOS Authors
 * Use of this source code is governed by a BSD-style license that can be
 * found in the LICENSE file.
 */

#include "charge_manager.h"
#include "chipset.h"
#include "console.h"
#include "system.h"
#include "usb_mux.h"
#include "usbc_ppc.h"
#include "util.h"

#include <zephyr/drivers/gpio.h>

#define CPRINTS(format, args...) cprints(CC_USBCHARGE, format, ##args)
#define CPRINTF(format, args...) cprintf(CC_USBCHARGE, format, ##args)

int pd_check_vconn_swap(int port)
{
	/* In G3, do not allow vconn swap since PP5000 rail is off */
	return gpio_pin_get_dt(GPIO_DT_FROM_NODELABEL(gpio_en_pp5000_a));
}

static uint8_t vbus_en[CONFIG_USB_PD_PORT_MAX_COUNT];
#if CONFIG_USB_PD_PORT_MAX_COUNT == 1
static uint8_t vbus_rp[CONFIG_USB_PD_PORT_MAX_COUNT] = { TYPEC_RP_1A5 };
#else
static uint8_t vbus_rp[CONFIG_USB_PD_PORT_MAX_COUNT] = { TYPEC_RP_1A5,
							 TYPEC_RP_1A5 };
#endif

static void board_vbus_update_source_current(int port)
{
	/* Both port are controlled by PPC SN5S330. */
	ppc_set_vbus_source_current_limit(port, vbus_rp[port]);
	ppc_vbus_source_enable(port, vbus_en[port]);
}

void pd_power_supply_reset(int port)
{
	int prev_en;

	prev_en = vbus_en[port];

	/* Disable VBUS */
	vbus_en[port] = 0;
	board_vbus_update_source_current(port);

	/* Enable discharge if we were previously sourcing 5V */
	if (prev_en)
		pd_set_vbus_discharge(port, 1);

	/* notify host of power info change */
	pd_send_host_event(PD_EVENT_POWER_CHANGE);
}

int pd_set_power_supply_ready(int port)
{
	/* Disable charging */
	board_vbus_sink_enable(port, 0);

	pd_set_vbus_discharge(port, 0);

	/* Provide VBUS */
	vbus_en[port] = 1;
	board_vbus_update_source_current(port);

	/* notify host of power info change */
	pd_send_host_event(PD_EVENT_POWER_CHANGE);

	return EC_SUCCESS; /* we are ready */
}

int board_vbus_source_enabled(int port)
{
	return vbus_en[port];
}

__override void typec_set_source_current_limit(int port, enum tcpc_rp_value rp)
{
	vbus_rp[port] = rp;
	board_vbus_update_source_current(port);
}

int pd_snk_is_vbus_provided(int port)
{
	return tcpm_check_vbus_level(port, VBUS_PRESENT);
}

/* ----------------- Vendor Defined Messages ------------------ */
#ifdef CONFIG_USB_PD_ALT_MODE_DFP
__override int svdm_dp_config(int port, uint32_t *payload)
{
	int opos = pd_alt_mode(port, TCPCI_MSG_SOP, USB_SID_DISPLAYPORT);
	uint8_t pin_mode = get_dp_pin_mode(port);

	if (!pin_mode)
		return 0;

	/*
	 * Defer setting the usb_mux until HPD goes high, svdm_dp_attention().
	 * The AP only supports one DP phy. An external DP mux switches between
	 * the two ports. Should switch those muxes when it is really used,
	 * i.e. HPD high; otherwise, the real use case is preempted, like:
	 *  (1) plug a dongle without monitor connected to port-0,
	 *  (2) plug a dongle without monitor connected to port-1,
	 *  (3) plug a monitor to the port-1 dongle.
	 */

	payload[0] =
		VDO(USB_SID_DISPLAYPORT, 1, CMD_DP_CONFIG | VDO_OPOS(opos));
	payload[1] = VDO_DP_CFG(pin_mode, /* pin mode */
				1, /* DPv1.3 signaling */
				2); /* UFP connected */
	return 2;
};

__override void svdm_dp_post_config(int port)
{
	dp_flags[port] |= DP_FLAGS_DP_ON;
}

/**
 * Is the port fine to be muxed its DisplayPort lines?
 *
 * Only one port can be muxed to DisplayPort at a time.
 *
 * @param port	Port number of TCPC.
 * @return	1 is fine; 0 is bad as other port is already muxed;
 */
static int is_dp_muxable(int port)
{
	int i;

	for (i = 0; i < CONFIG_USB_PD_PORT_MAX_COUNT; i++)
		if (i != port) {
			if (usb_mux_get(i) & USB_PD_MUX_DP_ENABLED)
				return 0;
		}

	return 1;
}

__override int svdm_dp_attention(int port, uint32_t *payload)
{
	const struct gpio_dt_spec *hpd =
		GPIO_DT_FROM_NODELABEL(gpio_dp_hot_plug_det);
	int lvl = PD_VDO_DPSTS_HPD_LVL(payload[1]);
	int irq = PD_VDO_DPSTS_HPD_IRQ(payload[1]);
	int cur_lvl = gpio_pin_get_dt(hpd);
	mux_state_t mux_state;

	dp_status[port] = payload[1];

	if (!is_dp_muxable(port)) {
		/* TODO(waihong): Info user? */
		CPRINTS("p%d: The other port is already muxed.", port);
		return 0;
	}

	/*
	 * Initial implementation to handle HPD. Only the first-plugged port
	 * works, i.e. sending HPD signal to AP. The second-plugged port
	 * will be ignored.
	 *
	 * TODO(waihong): Continue the above case, if the first-plugged port
	 * is then unplugged, switch to the second-plugged port and signal AP?
	 */
	if (lvl) {
		/*
		 * Enable and switch the DP port selection mux to the
		 * correct port.
		 *
		 * TODO(waihong): Better to move switching DP mux to
		 * the usb_mux abstraction.
		 */
		gpio_pin_set_dt(GPIO_DT_FROM_NODELABEL(gpio_dp_mux_sel),
				port == 1);
		gpio_pin_set_dt(GPIO_DT_FROM_NODELABEL(gpio_dp_mux_oe_l), 0);

		/* Connect the SBU lines in PPC chip. */
		if (IS_ENABLED(CONFIG_USBC_PPC_SBU))
			ppc_set_sbu(port, 1);

		/*
		 * Connect the USB SS/DP lines in TCPC chip.
		 *
		 * When mf_pref not true, still use the dock muxing
		 * because of the board USB-C topology (limited to 2
		 * lanes DP).
		 */
		usb_mux_set(port, USB_PD_MUX_DOCK, USB_SWITCH_CONNECT,
			    polarity_rm_dts(pd_get_polarity(port)));
	} else {
		/* Disconnect the DP port selection mux. */
		gpio_pin_set_dt(GPIO_DT_FROM_NODELABEL(gpio_dp_mux_oe_l), 1);
		gpio_pin_set_dt(GPIO_DT_FROM_NODELABEL(gpio_dp_mux_sel), 0);

		/* Disconnect the SBU lines in PPC chip. */
		if (IS_ENABLED(CONFIG_USBC_PPC_SBU))
			ppc_set_sbu(port, 0);

		/* Disconnect the DP but keep the USB SS lines in TCPC chip. */
		usb_mux_set(port, USB_PD_MUX_USB_ENABLED, USB_SWITCH_CONNECT,
			    polarity_rm_dts(pd_get_polarity(port)));
	}

	if (chipset_in_state(CHIPSET_STATE_ANY_SUSPEND) && (irq || lvl))
		/*
		 * Wake up the AP.  IRQ or level high indicates a DP sink is now
		 * present.
		 */
		pd_notify_dp_alt_mode_entry(port);

	/* Configure TCPC for the HPD event, for proper muxing */
	mux_state = (lvl ? USB_PD_MUX_HPD_LVL : USB_PD_MUX_HPD_LVL_DEASSERTED) |
		    (irq ? USB_PD_MUX_HPD_IRQ : USB_PD_MUX_HPD_IRQ_DEASSERTED);
	usb_mux_hpd_update(port, mux_state);

	/* Signal AP for the HPD event, through GPIO to AP */
	if (irq & cur_lvl) {
		uint64_t now = get_time().val;
		/* Wait for the minimum spacing between IRQ_HPD if needed */
		if (now < svdm_hpd_deadline[port])
			k_usleep(svdm_hpd_deadline[port] - now);

		/* Generate IRQ_HPD pulse */
		gpio_pin_set_dt(hpd, 0);
		k_usleep(HPD_DSTREAM_DEBOUNCE_IRQ);
		gpio_pin_set_dt(hpd, 1);

		/* Set the minimum time delay (2ms) for the next HPD IRQ */
		svdm_hpd_deadline[port] =
			get_time().val + HPD_USTREAM_DEBOUNCE_LVL;
	} else if (irq & !lvl) {
		CPRINTF("ERR:HPD:IRQ&LOW\n");
		return 0;
	}
	gpio_pin_set_dt(hpd, lvl);
	/* Set the minimum time delay (2ms) for the next HPD IRQ */
	svdm_hpd_deadline[port] = get_time().val + HPD_USTREAM_DEBOUNCE_LVL;

	return 1;
}

__override void svdm_exit_dp_mode(int port)
{
	if (is_dp_muxable(port)) {
		/* Disconnect the DP port selection mux. */
		gpio_pin_set_dt(GPIO_DT_FROM_NODELABEL(gpio_dp_mux_oe_l), 1);
		gpio_pin_set_dt(GPIO_DT_FROM_NODELABEL(gpio_dp_mux_sel), 0);

		/* Signal AP for the HPD low event */
		usb_mux_hpd_update(port, USB_PD_MUX_HPD_LVL_DEASSERTED |
						 USB_PD_MUX_HPD_IRQ_DEASSERTED);
		gpio_pin_set_dt(GPIO_DT_FROM_NODELABEL(gpio_dp_hot_plug_det),
				0);
	}
}
#endif /* CONFIG_USB_PD_ALT_MODE_DFP */
```

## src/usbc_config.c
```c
/* Copyright 2022 The ChromiumOS Authors
 * Use of this source code is governed by a BSD-style license that can be
 * found in the LICENSE file.
 */

/* Lazor board-specific USB-C configuration */

#include "battery_fuel_gauge.h"
#include "bc12/pi3usb9201_public.h"
#include "charge_manager.h"
#include "charge_state.h"
#include "charger.h"
#include "charger/isl923x_public.h"
#include "common.h"
#include "config.h"
#include "driver/ln9310.h"
#include "gpio/gpio_int.h"
#include "gpio_signal.h"
#include "hooks.h"
#include "ppc/sn5s330_public.h"
#include "system.h"
#include "tcpm/ps8xxx_public.h"
#include "tcpm/tcpci.h"
#include "timer.h"
#include "usb_mux.h"
#include "usb_pd.h"
#include "usbc_ocp.h"
#include "usbc_ppc.h"

#define CPRINTS(format, args...) cprints(CC_USBCHARGE, format, ##args)
#define CPRINTF(format, args...) cprintf(CC_USBCHARGE, format, ##args)

int charger_profile_override(struct charge_state_data *curr)
{
	int usb_mv;
	int port;

	if (curr->state != ST_CHARGE)
		return 0;

	/* Lower the max requested voltage to 5V when battery is full. */
	if (chipset_in_state(CHIPSET_STATE_ANY_OFF) &&
	    !(curr->batt.flags & BATT_FLAG_BAD_STATUS) &&
	    !(curr->batt.flags & BATT_FLAG_WANT_CHARGE) &&
	    (curr->batt.status & STATUS_FULLY_CHARGED))
		usb_mv = 5000;
	else
		usb_mv = CONFIG_PLATFORM_EC_USB_PD_MAX_VOLTAGE_MV;

	if (pd_get_max_voltage() != usb_mv) {
		CPRINTS("VBUS limited to %dmV", usb_mv);
		for (port = 0; port < CONFIG_USB_PD_PORT_MAX_COUNT; port++)
			pd_set_external_voltage_limit(port, usb_mv);
	}

	return 0;
}

enum ec_status charger_profile_override_get_param(uint32_t param,
						  uint32_t *value)
{
	return EC_RES_INVALID_PARAM;
}

enum ec_status charger_profile_override_set_param(uint32_t param,
						  uint32_t value)
{
	return EC_RES_INVALID_PARAM;
}

static void usba_oc_deferred(void)
{
	/* Use next number after all USB-C ports to indicate the USB-A port */
	board_overcurrent_event(
		CONFIG_USB_PD_PORT_MAX_COUNT,
		!gpio_pin_get_dt(GPIO_DT_FROM_NODELABEL(gpio_usb_a0_oc_odl)));
}
DECLARE_DEFERRED(usba_oc_deferred);

void usba_oc_interrupt(enum gpio_signal signal)
{
	hook_call_deferred(&usba_oc_deferred_data, 0);
}

static void board_connect_c0_sbu_deferred(void)
{
	/*
	 * If CCD_MODE_ODL asserts, it means there's a debug accessory connected
	 * and we should enable the SBU FETs.
	 */
	ppc_set_sbu(0, 1);
}
DECLARE_DEFERRED(board_connect_c0_sbu_deferred);

void board_connect_c0_sbu(enum gpio_signal s)
{
	hook_call_deferred(&board_connect_c0_sbu_deferred_data, 0);
}

/*
 * Port-0/1 USB mux driver.
 *
 * The USB mux is handled by TCPC chip and the HPD update is through a GPIO
 * to AP. But the TCPC chip is also needed to know the HPD status; otherwise,
 * the mux misbehaves.
 */
const struct usb_mux_chain usb_muxes[CONFIG_USB_PD_PORT_MAX_COUNT] = {
	{
		.mux =
			&(const struct usb_mux){
				.usb_port = 0,
				.driver = &tcpci_tcpm_usb_mux_driver,
				.hpd_update = &ps8xxx_tcpc_update_hpd_status,
			},
	},
	{
		.mux =
			&(const struct usb_mux){
				.usb_port = 1,
				.driver = &tcpci_tcpm_usb_mux_driver,
				.hpd_update = &ps8xxx_tcpc_update_hpd_status,
			},
	}
};

__override int board_get_default_battery_type(void)
{
	/*
	 * A 2S battery is set as default. If the board is configured to use
	 * a 3S battery, according to its SKU_ID, return a 3S battery as
	 * default. It helps to configure the charger to output a correct
	 * voltage in case the battery is not attached.
	 */
	if (board_get_battery_cell_type() == BATTERY_CELL_TYPE_3S)
		return BATTERY_LGC_AP18C8K;

	return DEFAULT_BATTERY_TYPE;
}

/* Initialize board USC-C things */
static void board_init_usbc(void)
{
	/* Enable USB-A overcurrent interrupt */
	gpio_enable_dt_interrupt(GPIO_INT_FROM_NODELABEL(int_usb_a0_oc));
	/*
	 * The H1 SBU line for CCD are behind PPC chip. The PPC internal FETs
	 * for SBU may be disconnected after DP alt mode is off. Should enable
	 * the CCD_MODE_ODL interrupt to make sure the SBU FETs are connected.
	 */
	gpio_enable_dt_interrupt(GPIO_INT_FROM_NODELABEL(int_ccd_mode));
}
DECLARE_HOOK(HOOK_INIT, board_init_usbc, HOOK_PRIO_DEFAULT);

void board_tcpc_init(void)
{
	/* Only reset TCPC if not sysjump */
	if (!system_jumped_late()) {
		/* TODO(crosbug.com/p/61098): How long do we need to wait? */
		board_reset_pd_mcu();
	}

	/*
	 * Initialize HPD to low; after sysjump SOC needs to see
	 * HPD pulse to enable video path
	 */
	for (int port = 0; port < CONFIG_USB_PD_PORT_MAX_COUNT; ++port)
		usb_mux_hpd_update(port, USB_PD_MUX_HPD_LVL_DEASSERTED |
						 USB_PD_MUX_HPD_IRQ_DEASSERTED);
}
DECLARE_HOOK(HOOK_INIT, board_tcpc_init, HOOK_PRIO_POST_I2C);

void board_reset_pd_mcu(void)
{
	cprints(CC_USB, "Resetting TCPCs...");
	cflush();

	gpio_pin_set_dt(&tcpc_config[0].rst_gpio, 1);
	gpio_pin_set_dt(&tcpc_config[1].rst_gpio, 1);
	k_msleep(PS8XXX_RESET_DELAY_MS);
	gpio_pin_set_dt(&tcpc_config[0].rst_gpio, 0);
	gpio_pin_set_dt(&tcpc_config[1].rst_gpio, 0);
}

void board_set_tcpc_power_mode(int port, int mode)
{
	/* Ignore the "mode" to turn the chip on.  We can only do a reset. */
	if (mode)
		return;

	board_reset_pd_mcu();
}

int board_vbus_sink_enable(int port, int enable)
{
	/* Both ports are controlled by PPC SN5S330 */
	return ppc_vbus_sink_enable(port, enable);
}

int board_is_sourcing_vbus(int port)
{
	/* Both ports are controlled by PPC SN5S330 */
	return ppc_is_sourcing_vbus(port);
}

void board_overcurrent_event(int port, int is_overcurrented)
{
	/* TODO(b/120231371): Notify AP */
	CPRINTS("p%d: overcurrent!", port);
}

int board_set_active_charge_port(int port)
{
	int is_real_port = (port >= 0 && port < CONFIG_USB_PD_PORT_MAX_COUNT);
	int i;

	if (!is_real_port && port != CHARGE_PORT_NONE)
		return EC_ERROR_INVAL;

	if (port == CHARGE_PORT_NONE) {
		CPRINTS("Disabling all charging port");

		/* Disable all ports. */
		for (i = 0; i < CONFIG_USB_PD_PORT_MAX_COUNT; i++) {
			/*
			 * Do not return early if one fails otherwise we can
			 * get into a boot loop assertion failure.
			 */
			if (board_vbus_sink_enable(i, 0))
				CPRINTS("Disabling p%d sink path failed.", i);
		}

		return EC_SUCCESS;
	}

	/* Check if the port is sourcing VBUS. */
	if (board_is_sourcing_vbus(port)) {
		CPRINTS("Skip enable p%d", port);
		return EC_ERROR_INVAL;
	}

	CPRINTS("New charge port: p%d", port);

	/*
	 * Turn off the other ports' sink path FETs, before enabling the
	 * requested charge port.
	 */
	for (i = 0; i < CONFIG_USB_PD_PORT_MAX_COUNT; i++) {
		if (i == port)
			continue;

		if (board_vbus_sink_enable(i, 0))
			CPRINTS("p%d: sink path disable failed.", i);
	}

	/* Enable requested charge port. */
	if (board_vbus_sink_enable(port, 1)) {
		CPRINTS("p%d: sink path enable failed.", port);
		return EC_ERROR_UNKNOWN;
	}

	return EC_SUCCESS;
}

__override void board_set_charge_limit(int port, int supplier, int charge_ma,
				       int max_ma, int charge_mv)
{
	/*
	 * Ignore lower charge ceiling on PD transition if our battery is
	 * critical, as we may brownout.
	 */
	if (supplier == CHARGE_SUPPLIER_PD && charge_ma < 1500 &&
	    charge_get_percent() < CONFIG_CHARGER_MIN_BAT_PCT_FOR_POWER_ON) {
		CPRINTS("Using max ilim %d", max_ma);
		charge_ma = max_ma;
	}

	charge_set_input_current_limit(charge_ma, charge_mv);
}
```
